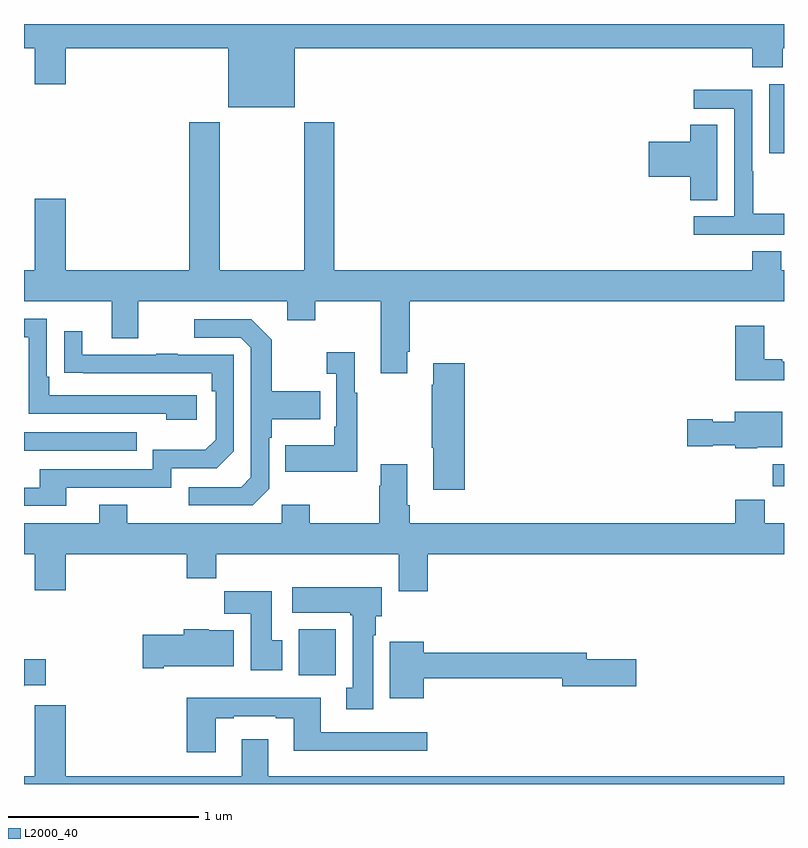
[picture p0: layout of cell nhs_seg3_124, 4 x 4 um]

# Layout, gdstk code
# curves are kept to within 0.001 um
import gdstk
lib = gdstk.Library(unit=1e-6, precision=1e-09)
def R(c, l, rs):  # rectangles x0, y0, x1, y1
    for r in rs: c.add(gdstk.rectangle(r[:2], r[2:], *l))
def P(c, l, *ps):  # polygons
    for p in ps: c.add(gdstk.Polygon(p, *l))
L2000_40 = (2000, 40)

nhs_seg3_124 = lib.new_cell('nhs_seg3_124')
R(nhs_seg3_124, L2000_40, [(118.445,674.972,118.642,675.214), (120.94,675.966,121,676.084), (117,676.155,117.593,676.251), (120.923,677.721,121,678.082)])
P(nhs_seg3_124, L2000_40, [(118.426,678.272),(120.833,678.272),(120.833,678.173),(120.993,678.173),(120.993,678.272),(121,678.272),(121,678.4),(117,678.4),(117,678.272),(117.056,678.272),(117.056,678.084),(117.22,678.084),(117.22,678.272),(118.076,678.272),(118.076,677.963),(118.426,677.963)],
  [(121,677.401),(120.837,677.401),(120.837,677.624),(120.834,677.624),(120.834,678.054),(120.525,678.054),(120.525,677.955),(120.738,677.955),(120.738,677.388),(120.525,677.388),(120.525,677.292),(121,677.292)],
  [(119.017,676.675),(119.03,676.675),(119.03,676.94),(121,676.94),(121,677.104),(120.985,677.104),(120.985,677.203),(120.833,677.203),(120.833,677.104),(118.634,677.104),(118.634,677.884),(118.474,677.884),(118.474,677.104),(118.029,677.104),(118.029,677.884),(117.869,677.884),(117.869,677.104),(117.22,677.104),(117.22,677.479),(117.056,677.479),(117.056,677.104),(117,677.104),(117,676.94),(117.461,676.94),(117.461,676.746),(117.601,676.746),(117.601,676.94),(118.385,676.94),(118.385,676.841),(118.533,676.841),(118.533,676.94),(118.877,676.94),(118.877,676.563),(119.017,676.563)],
  [(120.649,677.87),(120.506,677.87),(120.506,677.78),(120.288,677.78),(120.288,677.597),(120.506,677.597),(120.506,677.473),(120.649,677.473)],
  [(117.91,676.446),(117.133,676.446),(117.133,676.543),(117.12,676.543),(117.12,676.848),(117,676.848),(117,676.752),(117.024,676.752),(117.024,676.35),(117.749,676.35),(117.749,676.316),(117.91,676.316)],
  [(118.29,675.954),(118.29,676.223),(118.303,676.223),(118.303,676.319),(118.559,676.319),(118.559,676.467),(118.303,676.467),(118.303,676.739),(118.197,676.845),(117.897,676.845),(117.897,676.749),(118.14,676.749),(118.194,676.695),(118.194,676.014),(118.143,675.963),(117.867,675.963),(117.867,675.867),(118.203,675.867)],
  [(121,676.623),(120.991,676.623),(120.991,676.636),(120.895,676.636),(120.895,676.813),(120.743,676.813),(120.743,676.526),(121,676.526)],
  [(117.223,675.96),(117.774,675.96),(117.774,676.062),(118.014,676.062),(118.104,676.152),(118.104,676.659),(117.809,676.659),(117.809,676.664),(117.697,676.664),(117.697,676.659),(117.307,676.659),(117.307,676.783),(117.211,676.783),(117.211,676.564),(117.988,676.563),(117.988,676.466),(118.008,676.466),(118.008,676.212),(117.955,676.159),(117.678,676.159),(117.678,676.056),(117.083,676.056),(117.083,675.96),(117,675.96),(117,675.864),(117.223,675.864)],
  [(118.753,676.459),(118.741,676.459),(118.741,676.672),(118.593,676.672),(118.593,676.559),(118.644,676.559),(118.644,676.279),(118.632,676.279),(118.632,676.183),(118.375,676.183),(118.375,676.043),(118.753,676.043)],
  [(119.321,676.615),(119.153,676.615),(119.153,676.502),(119.146,676.502),(119.146,676.171),(119.153,676.171),(119.153,675.948),(119.321,675.948)],
  [(120.858,676.172),(120.991,676.172),(120.991,676.36),(120.74,676.36),(120.74,676.306),(120.624,676.306),(120.624,676.319),(120.492,676.319),(120.492,676.177),(120.624,676.177),(120.624,676.184),(120.744,676.184),(120.744,676.166),(120.858,676.166)],
  [(119.126,675.608),(121,675.608),(121,675.772),(120.899,675.772),(120.899,675.896),(120.743,675.896),(120.743,675.772),(119.03,675.772),(119.03,675.868),(119.017,675.868),(119.017,676.084),(118.877,676.084),(118.877,675.971),(118.87,675.971),(118.87,675.772),(118.503,675.772),(118.503,675.871),(118.356,675.871),(118.356,675.772),(117.543,675.772),(117.543,675.871),(117.395,675.871),(117.395,675.772),(117,675.772),(117,675.608),(117.056,675.608),(117.056,675.42),(117.22,675.42),(117.22,675.608),(117.857,675.608),(117.857,675.484),(118.013,675.484),(118.013,675.608),(118.973,675.608),(118.973,675.414),(119.126,675.414)],
  [(118.837,675.182),(118.852,675.182),(118.852,675.282),(118.882,675.282),(118.882,675.436),(118.413,675.436),(118.413,675.302),(118.717,675.302),(118.717,675.289),(118.73,675.289),(118.73,674.906),(118.697,674.906),(118.697,674.793),(118.837,674.793)],
  [(118.36,675.156),(118.303,675.156),(118.303,675.415),(118.054,675.415),(118.054,675.296),(118.193,675.296),(118.193,675),(118.36,675)],
  [(117.736,675.02),(118.105,675.02),(118.105,675.208),(117.972,675.208),(117.972,675.214),(117.842,675.214),(117.842,675.186),(117.624,675.186),(117.624,675.008),(117.736,675.008)],
  [(119.104,674.956),(119.834,674.956),(119.834,674.914),(120.223,674.914),(120.223,675.056),(119.962,675.056),(119.962,675.092),(119.104,675.092),(119.104,675.148),(118.925,675.148),(118.925,674.852),(119.104,674.852)],
  [(117.002,674.921),(117.115,674.921),(117.115,675.056),(117,675.056),(117,674.914),(117.002,674.914)],
  [(118.009,674.745),(118.105,674.745),(118.105,674.757),(118.325,674.757),(118.325,674.745),(118.421,674.745),(118.421,674.576),(119.122,674.576),(119.122,674.673),(118.561,674.673),(118.561,674.854),(117.857,674.854),(117.857,674.568),(118.009,674.568)],
  [(121,674.44),(118.285,674.44),(118.285,674.635),(118.145,674.635),(118.145,674.44),(117.22,674.44),(117.22,674.815),(117.056,674.815),(117.056,674.44),(117,674.44),(117,674.4),(121,674.4)])

lib.write_gds('nhs_seg3_124.gds')
